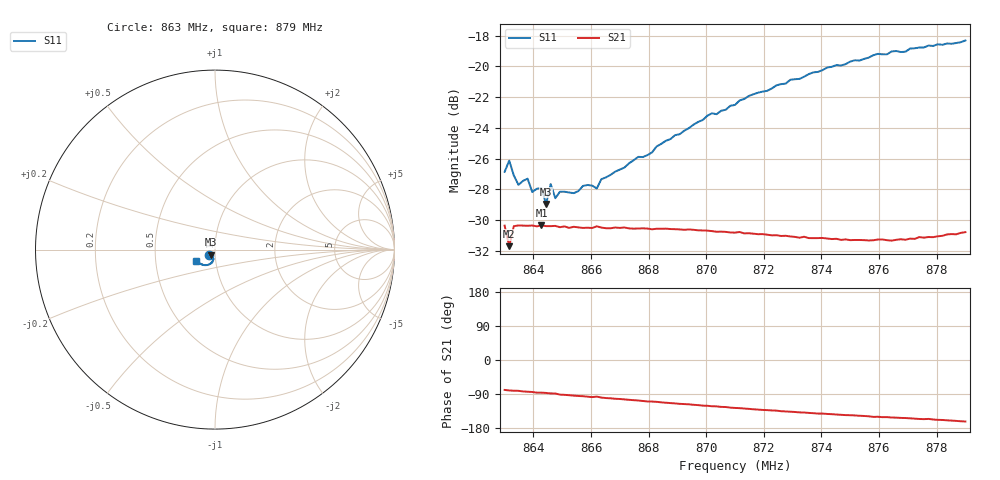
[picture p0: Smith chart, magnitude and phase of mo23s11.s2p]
# HZ S RI R 50
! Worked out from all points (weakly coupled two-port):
!   101 points, 863 MHz to 879 MHz, reference 50 ohm
!   highest |S21| = -30.34 dB at 864.28 MHz (marker M1); lowest = -31.7 dB at 863.16 MHz (marker M2)
!   lowest |S11| = -28.9 dB at 864.44 MHz (marker M3), VSWR 1.07, Z = 47.9 - j2.77 ohm
!   |S11| at or under -10 dB: start of sweep to end of sweep
!   S12 and S22 are empty: the file has one direction only
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8.63e8  -0.0346 -0.0294  0.00579 -0.0298  0 0  0 0
8.6316e8  -0.038 -0.0315  0.00435 -0.0257  0 0  0 0
8.6332e8  -0.0331 -0.0293  0.00471 -0.0299  0 0  0 0
8.6348e8  -0.0292 -0.0291  0.00458 -0.0301  0 0  0 0
8.638e8  -0.0302 -0.0308  0.00332 -0.0301  0 0  0 0
8.6396e8  -0.0256 -0.0295  0.00297 -0.0302  0 0  0 0
8.6428e8  -0.0226 -0.0332  0.00202 -0.0304  0 0  0 0
8.6444e8  -0.0209 -0.0289  0.00162 -0.0302  0 0  0 0
8.646e8  -0.0248 -0.0331  0.000968 -0.0302  0 0  0 0
8.6476e8  -0.0186 -0.0323  0.000876 -0.0303  0 0  0 0
8.6492e8  -0.0222 -0.0322  -0.000705 -0.03  0 0  0 0
8.654e8  -0.0162 -0.0352  -0.00212 -0.03  0 0  0 0
8.6572e8  -0.0162 -0.0375  -0.00288 -0.0297  0 0  0 0
8.662e8  -0.0114 -0.0384  -0.00345 -0.03  0 0  0 0
8.6636e8  -0.0149 -0.0403  -0.00479 -0.0295  0 0  0 0
8.6844e8  -0.0108 -0.0549  -0.011 -0.0275  0 0  0 0
8.7004e8  -0.0144 -0.0676  -0.015 -0.0251  0 0  0 0
8.71e8  -0.0181 -0.0727  -0.0171 -0.0232  0 0  0 0
8.7148e8  -0.0218 -0.0771  -0.018 -0.0223  0 0  0 0
8.7372e8  -0.0411 -0.0863  -0.0213 -0.0176  0 0  0 0
8.7644e8  -0.0762 -0.0818  -0.0239 -0.0128  0 0  0 0
8.79e8  -0.1034 -0.0635  -0.0275 -0.00881  0 0  0 0
